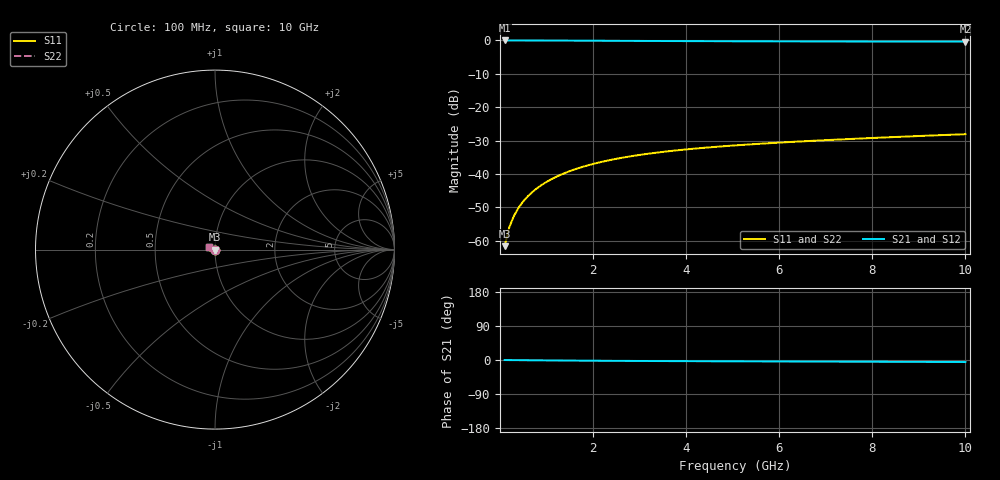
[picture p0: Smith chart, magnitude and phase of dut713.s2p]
! Touchstone file exported from HFSS 2024.1.0
!  File:  C:/UserFiles/LocalFiles/RDL_TSV_Batchsim/temp_TSV1_713_1779867534.aedt
!  Generated:  03:45:18 PM May 27, 2026
!  Design:  TSV1
!  Project:  temp_TSV1_713_1779867534
!  Setup:  Setup1
!  Solution:  Sweep
! Variables:
!  dtsv = 6.85um
!  hbump = 3um
!  htsv = 80.6um
!  lrdl = 252.1521522um
!  p = 40
!  p1 = 48.83um
!  t = 500um
!  trdl = 3um
!  wrdl = 24.89489489um
# GHz S MA R 50.000000
! Terminal data exported
! Port[1] = TSV22_T1
! Port[2] = TSV22_T2
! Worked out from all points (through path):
!   100 points, 100 MHz to 10 GHz, reference 50 ohm
!   highest |S21| = 0.00 dB at 100 MHz (marker M1); lowest = -0.4 dB at 10 GHz (marker M2)
!   lowest |S11| = -61.7 dB at 100 MHz (marker M3), VSWR 1.00, Z = 50 - j0.0776 ohm
!   |S11| at or under -10 dB: start of sweep to end of sweep
!   |S22| runs from -61.7 to -28.1 dB; largest |S21 - S12| = 3.6e-15
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0.1  0.0008242 -70.1  0.9997 -0.1  0.9997 -0.1  0.0008242 -70.1
! Gamma 0 0 0 0
! Port Impedance 50 0 50 0
0.2  0.001577 -82.7  0.9996 -0.2  0.9996 -0.2  0.001577 -82.7
0.3  0.002342 -88.4  0.9994 -0.3  0.9994 -0.3  0.002342 -88.4
0.4  0.003106 -92.3  0.9992 -0.4  0.9992 -0.4  0.003106 -92.3
0.5  0.003868 -95.4  0.999 -0.5  0.999 -0.5  0.003868 -95.4
0.6  0.004623 -98.2  0.9987 -0.6  0.9987 -0.6  0.004623 -98.2
0.7  0.005372 -100.7  0.9983 -0.7  0.9983 -0.7  0.005372 -100.7
0.8  0.006113 -103.1  0.9979 -0.8  0.9979 -0.8  0.006113 -103.1
0.9  0.006844 -105.3  0.9975 -0.9  0.9975 -0.9  0.006844 -105.3
1.1  0.008274 -109.6  0.9965 -1.1  0.9965 -1.1  0.008274 -109.6
1.4  0.01033 -115.7  0.9948 -1.4  0.9948 -1.4  0.01033 -115.7
1.6  0.01163 -119.5  0.9935 -1.6  0.9935 -1.6  0.01163 -119.5
1.8  0.01288 -123.2  0.9922 -1.8  0.9922 -1.8  0.01288 -123.2
2.1  0.01465 -128.4  0.9901 -2.0  0.9901 -2.0  0.01465 -128.4
2.5  0.01681 -135.0  0.9873 -2.3  0.9873 -2.3  0.01681 -135.0
2.9  0.01876 -141.2  0.9845 -2.5  0.9845 -2.5  0.01876 -141.2
3.4  0.02094 -148.2  0.9812 -2.8  0.9812 -2.8  0.02094 -148.2
4.2  0.02396 -158.3  0.9765 -3.1  0.9765 -3.1  0.02396 -158.3
5.1  0.02684 -168.1  0.9722 -3.5  0.9722 -3.5  0.02684 -168.1
6.7  0.03125 177.6  0.9666 -4.1  0.9666 -4.1  0.03125 177.6
8.4  0.03547 165.5  0.9626 -4.7  0.9626 -4.7  0.03547 165.5
10  0.03933 156.2  0.9599 -5.3  0.9599 -5.3  0.03933 156.2
